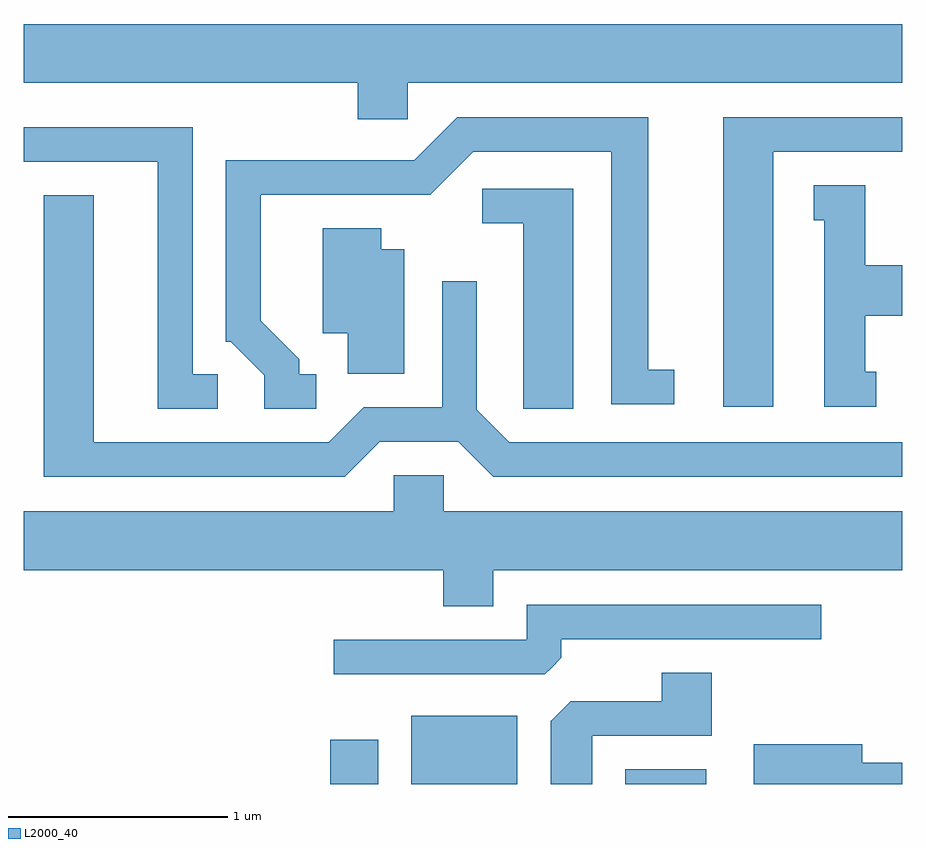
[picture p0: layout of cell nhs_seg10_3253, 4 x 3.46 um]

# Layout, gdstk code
import gdstk
lib = gdstk.Library(unit=1e-6, precision=1e-09)
def R(c, l, rs):  # rectangles x0, y0, x1, y1
    for r in rs: c.add(gdstk.rectangle(r[:2], r[2:], *l))
def P(c, l, *ps):  # polygons
    for p in ps: c.add(gdstk.Polygon(p, *l))
L2000_40 = (2000, 40)

nhs_seg10_3253 = lib.new_cell('nhs_seg10_3253')
R(nhs_seg10_3253, L2000_40, [(283.006,2088.522,283.224,2088.724), (283.376,2088.522,283.859,2088.834), (284.351,2088.522,284.719,2088.589)])
P(nhs_seg10_3253, L2000_40, [(283.359,2091.716),(285.611,2091.716),(285.611,2091.984),(281.611,2091.984),(281.611,2091.716),(283.131,2091.716),(283.131,2091.551),(283.359,2091.551)],
  [(282.943,2090.389),(282.864,2090.389),(282.864,2090.457),(282.689,2090.632),(282.689,2091.206),(283.462,2091.206),(283.657,2091.401),(284.286,2091.401),(284.286,2090.251),(284.573,2090.251),(284.573,2090.409),(284.454,2090.409),(284.454,2091.559),(283.584,2091.559),(283.389,2091.364),(282.531,2091.364),(282.531,2090.536),(282.554,2090.536),(282.706,2090.384),(282.706,2090.231),(282.943,2090.231)],
  [(285.024,2091.401),(285.611,2091.401),(285.611,2091.559),(284.796,2091.559),(284.796,2090.241),(285.024,2090.241)],
  [(282.493,2090.389),(282.379,2090.389),(282.379,2091.514),(281.611,2091.514),(281.611,2091.356),(282.221,2091.356),(282.221,2090.231),(282.493,2090.231)],
  [(285.493,2090.399),(285.444,2090.399),(285.444,2090.656),(285.611,2090.656),(285.611,2090.884),(285.444,2090.884),(285.444,2091.249),(285.208,2091.249),(285.208,2091.091),(285.256,2091.091),(285.256,2090.241),(285.493,2090.241)],
  [(284.114,2091.234),(283.698,2091.234),(283.698,2091.076),(283.886,2091.076),(283.886,2090.231),(284.114,2090.231)],
  [(283.232,2090.081),(283.589,2090.081),(283.749,2089.921),(285.611,2089.921),(285.611,2090.079),(283.822,2090.079),(283.674,2090.227),(283.674,2090.813),(283.516,2090.813),(283.516,2090.239),(283.159,2090.239),(282.999,2090.079),(281.929,2090.079),(281.929,2091.204),(281.701,2091.204),(281.701,2089.921),(283.072,2089.921)],
  [(283.344,2090.959),(283.239,2090.959),(283.239,2091.054),(282.971,2091.054),(282.971,2090.576),(283.086,2090.576),(283.086,2090.391),(283.344,2090.391)],
  [(283.749,2089.496),(285.611,2089.496),(285.611,2089.764),(283.524,2089.764),(283.524,2089.929),(283.296,2089.929),(283.296,2089.764),(281.611,2089.764),(281.611,2089.496),(283.521,2089.496),(283.521,2089.331),(283.749,2089.331)],
  [(284.013,2089.05),(284.059,2089.097),(284.059,2089.181),(285.243,2089.181),(285.243,2089.339),(283.901,2089.339),(283.901,2089.179),(283.023,2089.179),(283.023,2089.021),(283.984,2089.021)],
  [(284.199,2088.741),(284.744,2088.741),(284.744,2089.029),(284.516,2089.029),(284.516,2088.899),(284.102,2088.899),(284.013,2088.81),(284.011,2088.809),(284.011,2088.522),(284.199,2088.522)],
  [(285.611,2088.619),(285.429,2088.619),(285.429,2088.704),(284.936,2088.704),(284.936,2088.522),(285.611,2088.522)])

lib.write_gds('nhs_seg10_3253.gds')
